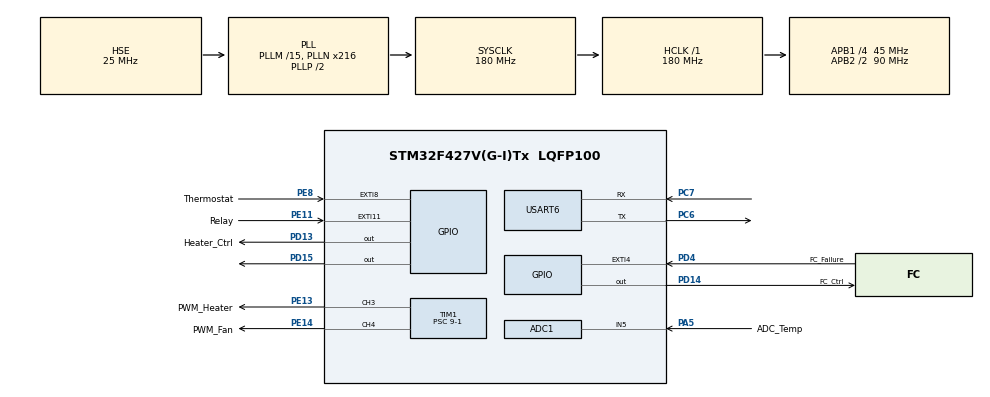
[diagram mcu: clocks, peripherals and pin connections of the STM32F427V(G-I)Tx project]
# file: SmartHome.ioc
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ADC1.Channel-2\#ChannelRegularConversion=ADC_CHANNEL_5
ADC1.ContinuousConvMode=ENABLE
ADC1.DMAContinuousRequests=DISABLE
ADC1.NbrOfConversion=1
ADC1.NbrOfConversionFlag=1
ADC1.Rank-2\#ChannelRegularConversion=1
ADC1.SamplingTime-2\#ChannelRegularConversion=ADC_SAMPLETIME_480CYCLES
ADC1.master=1
Dma.Request0=USART6_RX
Dma.USART6_RX.0.Direction=DMA_PERIPH_TO_MEMORY
Dma.USART6_RX.0.FIFOMode=DMA_FIFOMODE_DISABLE
Dma.USART6_RX.0.Instance=DMA2_Stream1
Dma.USART6_RX.0.MemDataAlignment=DMA_MDATAALIGN_BYTE
Dma.USART6_RX.0.MemInc=DMA_MINC_ENABLE
Dma.USART6_RX.0.Mode=DMA_NORMAL
Dma.USART6_RX.0.PeriphDataAlignment=DMA_PDATAALIGN_BYTE
Dma.USART6_RX.0.PeriphInc=DMA_PINC_DISABLE
Dma.USART6_RX.0.Priority=DMA_PRIORITY_VERY_HIGH
FREERTOS.INCLUDE_vTaskDelayUntil=1
FREERTOS.Tasks01=TaskReceiveData,0,128,StartTaskReceiveData,Default,NULL,Dynamic,NULL,NULL;TaskHeater,0,128,StartTaskHeater,Default,NULL,Dynamic,NULL,NULL;TaskFan,0,128,StartTaskFan,Default,NULL,Dynamic,NULL,NULL;TaskSendData,0,128,StartTaskSendData,Default,NULL,Dynamic,NULL,NULL;TaskReadTemp,0,128,StartTaskReadTemp,Default,NULL,Dynamic,NULL,NULL
FREERTOS.configUSE_NEWLIB_REENTRANT=1
Mcu.Family=STM32F4
Mcu.Name=STM32F427V(G-I)Tx
Mcu.Package=LQFP100
NVIC.DMA2_Stream1_IRQn=true\:5\:0\:false\:false\:true\:true\:false\:true\:true
NVIC.EXTI4_IRQn=true\:5\:0\:false\:false\:true\:true\:true\:true\:true
NVIC.EXTI9_5_IRQn=true\:5\:0\:false\:false\:true\:true\:true\:true\:true
NVIC.PriorityGroup=NVIC_PRIORITYGROUP_4
NVIC.USART6_IRQn=true\:5\:0\:false\:false\:true\:true\:true\:true\:true
PA13.Mode=JTAG_5_pins
PA13.Signal=SYS_JTMS-SWDIO
PA14.Mode=JTAG_5_pins
PA14.Signal=SYS_JTCK-SWCLK
PA15.Mode=JTAG_5_pins
PA15.Signal=SYS_JTDI
PA5.GPIO_Label=ADC_Temp
PA5.Signal=ADCx_IN5
PB3.Mode=JTAG_5_pins
PB3.Signal=SYS_JTDO-SWO
PB4.Mode=JTAG_5_pins
PB4.Signal=SYS_JTRST
PC14/OSC32_IN.Mode=LSE-External-Oscillator
PC14/OSC32_IN.Signal=RCC_OSC32_IN
PC15/OSC32_OUT.Mode=LSE-External-Oscillator
PC15/OSC32_OUT.Signal=RCC_OSC32_OUT
PC6.Mode=Asynchronous
PC6.Signal=USART6_TX
PC7.Mode=Asynchronous
PC7.Signal=USART6_RX
PD13.GPIO_Label=Heater_Ctrl
PD13.Signal=GPIO_Output
PD14.GPIO_Label=FC_Ctrl
PD14.Signal=GPIO_Output
PD15.Signal=GPIO_Output
PD4.GPIO_Label=FC_Failure
PD4.GPIO_PuPd=GPIO_PULLDOWN
PD4.Signal=GPXTI4
PE11.GPIO_Label=Relay
PE11.GPIO_PuPd=GPIO_PULLDOWN
PE11.Signal=GPXTI11
PE13.GPIO_Label=PWM_Heater
PE13.Signal=S_TIM1_CH3
PE14.GPIO_Label=PWM_Fan
PE14.Signal=S_TIM1_CH4
PE8.GPIO_Label=Thermostat
PE8.GPIO_PuPd=GPIO_PULLDOWN
PE8.Signal=GPXTI8
PH0/OSC_IN.Mode=HSE-External-Oscillator
PH0/OSC_IN.Signal=RCC_OSC_IN
PH1/OSC_OUT.Mode=HSE-External-Oscillator
PH1/OSC_OUT.Signal=RCC_OSC_OUT
ProjectManager.HeapSize=0x200
ProjectManager.StackSize=0x400
ProjectManager.TargetToolchain=STM32CubeIDE
RCC.48MHZClocksFreq_Value=90000000
RCC.AHBFreq_Value=180000000
RCC.APB1CLKDivider=RCC_HCLK_DIV4
RCC.APB1Freq_Value=45000000
RCC.APB1TimFreq_Value=90000000
RCC.APB2CLKDivider=RCC_HCLK_DIV2
RCC.APB2Freq_Value=90000000
RCC.APB2TimFreq_Value=180000000
RCC.CortexFreq_Value=180000000
RCC.HCLKFreq_Value=180000000
RCC.HSE_VALUE=25000000
RCC.HSI_VALUE=16000000
RCC.PLLM=15
RCC.PLLN=216
RCC.PLLSourceVirtual=RCC_PLLSOURCE_HSE
RCC.SYSCLKFreq_VALUE=180000000
RCC.SYSCLKSource=RCC_SYSCLKSOURCE_PLLCLK
RCC.VCOOutputFreq_Value=360000000
SH.ADCx_IN5.0=ADC1_IN5,IN5
SH.S_TIM1_CH3.0=TIM1_CH3,PWM Generation3 CH3
SH.S_TIM1_CH4.0=TIM1_CH4,PWM Generation4 CH4
TIM1.Channel-PWM\ Generation3\ CH3=TIM_CHANNEL_3
TIM1.Channel-PWM\ Generation4\ CH4=TIM_CHANNEL_4
TIM1.Period=1000-1
TIM1.Prescaler=9-1
USART6.VirtualMode=VM_ASYNC
VP_FREERTOS_VS_CMSIS_V1.Mode=CMSIS_V1
VP_TIM1_VS_ClockSourceINT.Mode=Internal
board=custom

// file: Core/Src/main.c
/* USER CODE BEGIN Header */
/**
 ******************************************************************************
 * @file           : main.c
 * @brief          : Main program body
 ******************************************************************************
 * @attention
 *
 * Copyright (c) 2023 STMicroelectronics.
 * All rights reserved.
 *
 * This software is licensed under terms that can be found in the LICENSE file
 * in the root directory of this software component.
 * If no LICENSE file comes with this software, it is provided AS-IS.
 *
 ******************************************************************************
 */
/* USER CODE END Header */
#include "main.h"
#include "cmsis_os.h"

/* USER CODE BEGIN Includes */
#include "PID.h"
#include <stdlib.h>
#include <stdio.h>
#include <string.h>
/* USER CODE END Includes */

/* USER CODE BEGIN PD */
#define RxBuf_SIZE   64
#define	StartBf 0xAA
#define	StopBf 0xFF
#define	EscapeBf 0x55
#define bufferSize 1024
/* USER CODE END PD */

ADC_HandleTypeDef hadc1;

TIM_HandleTypeDef htim1;

UART_HandleTypeDef huart6;
DMA_HandleTypeDef hdma_usart6_rx;

osThreadId TaskReceiveDataHandle;
osThreadId TaskHeaterHandle;
osThreadId TaskFanHandle;
osThreadId TaskSendDataHandle;
osThreadId TaskReadTempHandle;
/* USER CODE BEGIN PV */

//uint32_t adc_value, adc_buffer, sum, adc_average;
//uint16_t count = 0;
//uint8_t flag_avg = 0, flag_adc = 0;
uint8_t flag_receive = 0, flag_correct = 0, flag_speed = 0, request = 0, i = 0;
uint8_t crc8;
uint8_t flag_set_temp = 0, flag_start = 0, flag_stop = 0;

float temp, speed, temp_set, speed_set;
uint16_t pwm_temp, pwm_speed;

extern float last_error_pres, integrated_error_pres;
extern uint32_t timerPID_pres;

//uint8_t flag_heater,flag_fan, flag_fc;
//uint8_t heater_failure,fan_failure, fc_failure;

uint8_t tx_buffer[RxBuf_SIZE];
uint16_t txSize;
uint8_t rx_buffer[RxBuf_SIZE];
uint8_t receiverData[RxBuf_SIZE];
uint8_t rx_length, flag_crc = 0;

uint8_t RxBufDMA[RxBuf_SIZE];

uint8_t receiverCount, escaped, active;

union {
	float fValue;
	uint8_t cValue[4];
	uint32_t iValue;
} data32;

enum SpecialBytes {
	Start = 0xAA, Stop = 0xFF, Escape = 0x55
};

enum State State_Machine = STOP;
//union
//{
//	uint8_t cValue[2];
//	uint16_t iValue;
//}data16;
//char pressureRx[30];
//uint8_t rx_index = 0;
//uint8_t rx_data;

PidParameter PID_TEMP = { 15, 5, 0 };
/* USER CODE END PV */

void SystemClock_Config(void);
static void MX_GPIO_Init(void);
static void MX_DMA_Init(void);
static void MX_ADC1_Init(void);
static void MX_TIM1_Init(void);
static void MX_USART6_UART_Init(void);
void StartTaskReceiveData(void const * argument);
void StartTaskHeater(void const * argument);
void StartTaskFan(void const * argument);
void StartTaskSendData(void const * argument);
void StartTaskReadTemp(void const * argument);

/* USER CODE BEGIN PFP */
//void HAL_ADC_ConvCpltCallback(ADC_HandleTypeDef *hadc) {
//	// time Conv = (480+15)/180Mhz = 2.75 us
//	adc_value = adc_buffer;
//	temp = (float) adc_value * coeff_temp;
//
//	if (count == 50) {
//		adc_average = sum / count;
//		temp = (float) adc_average * coeff_temp;
//		sum = 0;
//		count = 0;
////		flag_avg = 1;
//	} else {
//		sum += adc_buffer;
//		count++;
//	}
////	flag_adc = 1;
//}
void HAL_GPIO_EXTI_Callback(uint16_t GPIO_Pin) {
	if (GPIO_Pin == Thermostat_Pin) {
//		HAL_GPIO_WritePin(GPIOD, GPIO_PIN_13, 0);
//		HAL_GPIO_WritePin(Heater_Ctrl_GPIO_Port, Heater_Ctrl_Pin, 0);
		if (State_Machine == WORKING)
			State_Machine = HEATER_BLOWING;
		else if (State_Machine == HEATER_START || State_Machine == FAN_START)
			State_Machine = BLOCK;
		pwm_temp = 0;
	}
	if (GPIO_Pin == Relay_Pin) {
//		HAL_GPIO_WritePin(GPIOD, GPIO_PIN_15, 0);
//		HAL_GPIO_WritePin(Fan_Ctrl_GPIO_Port, Fan_Ctrl_Pin, 0);
		State_Machine = BLOCK;
	}
	if (GPIO_Pin == FC_Failure_Pin) {
//		HAL_GPIO_WritePin(GPIOD, GPIO_PIN_14, 0);
//		HAL_GPIO_WritePin(FC_Ctrl_GPIO_Port, FC_Ctrl_Pin, 0);
		State_Machine = BLOCK;
	}
}

//void HAL_UART_RxCpltCallback(UART_HandleTypeDef *huart) {
//	if (huart->Instance == huart6.Instance) {
////		HAL_GPIO_TogglePin(GPIOD, GPIO_PIN_15);
////		if (!rx_index) {
////			for (int i = 0; i < 20; i++) {
////				rx_buffer[i] = '\0';
////			}
////		}
////		if (rx_data != '\n' && rx_data != '\r' && rx_data != '/') {
////			rx_buffer[rx_index++] = rx_data;
////		} else {
//////			HAL_GPIO_TogglePin(GPIOD, GPIO_PIN_13);
//////			HAL_UART_Transmit(&huart6, (uint8_t*)rx_buffer, strlen(rx_buffer), HAL_MAX_DELAY);
////
////			flag_value = 1;
////			rx_index = 0;
////		}
//		flag_receive = 1;
//		HAL_UART_Receive_IT(&huart6, rx_buffer, 7);
////		HAL_UART_Transmit(&huart6, rx_buffer, 7, HAL_MAX_DELAY);
//	}
//}

uint8_t calculate_crc8(uint8_t *pcBlock, uint8_t len) {
	uint8_t crc = 0xFF;
	uint8_t i;

	while (len--) {
		crc ^= *pcBlock++;

		for (i = 0; i < 8; i++)
			crc = crc & 0x80 ? (crc << 1) ^ CRC8_POLYNOMIAL : crc << 1;
	}

	return crc;
}

void HAL_UARTEx_RxEventCallback(UART_HandleTypeDef *huart, uint16_t Size) {
	if (huart->Instance == USART6) {
		memcpy((uint8_t*) rx_buffer, RxBufDMA, Size);
		memset((uint8_t*) rx_buffer + Size, 0, RxBuf_SIZE - Size);
		rx_length = Size;
		flag_receive = 1;

		/* start the DMA again */
		HAL_UARTEx_ReceiveToIdle_DMA(&huart6, (uint8_t*) RxBufDMA, RxBuf_SIZE);
		__HAL_DMA_DISABLE_IT(&hdma_usart6_rx, DMA_IT_HT);

	}

}

//uint16_t calculate_crc16(const uint8_t *data, size_t len) {
//    uint16_t crc = 0; // Initial value
//
//    for (size_t i = 0; i < len; i++) {
//        crc ^= (uint16_t)data[i] << 8;
//        for (int j = 0; j < 8; j++) {
//            if (crc & 0x8000) {
//                crc = (crc << 1) ^ CRC16_POLYNOMIAL;
//            } else {
//                crc = crc << 1;
//            }
//        }
//    }
//
//    return crc;
//}

/* USER CODE END PFP */

int main(void)
{

  /* MCU Configuration--------------------------------------------------------*/

  /* Reset of all peripherals, Initializes the Flash interface and the Systick. */
  HAL_Init();

  /* Configure the system clock */
  SystemClock_Config();

  /* Initialize all configured peripherals */
  MX_GPIO_Init();
  MX_DMA_Init();
  MX_ADC1_Init();
  MX_TIM1_Init();
  MX_USART6_UART_Init();
  /* USER CODE BEGIN 2 */
//	HAL_ADC_Start_DMA(&hadc1, &adc_buffer, 1);
//	HAL_UART_Receive_IT(&huart6, rx_buffer, 7);
	HAL_UARTEx_ReceiveToIdle_DMA(&huart6, RxBufDMA, RxBuf_SIZE);
	__HAL_DMA_DISABLE_IT(&hdma_usart6_rx, DMA_IT_HT);

	HAL_TIM_PWM_Start(&htim1, TIM_CHANNEL_3);
	HAL_TIM_PWM_Start(&htim1, TIM_CHANNEL_4);

  /* USER CODE END 2 */

  /* Create the thread(s) */
  /* definition and creation of TaskReceiveData */
  osThreadDef(TaskReceiveData, StartTaskReceiveData, osPriorityNormal, 0, 128);
  TaskReceiveDataHandle = osThreadCreate(osThread(TaskReceiveData), NULL);

  /* definition and creation of TaskHeater */
  osThreadDef(TaskHeater, StartTaskHeater, osPriorityNormal, 0, 128);
  TaskHeaterHandle = osThreadCreate(osThread(TaskHeater), NULL);

  /* definition and creation of TaskFan */
  osThreadDef(TaskFan, StartTaskFan, osPriorityNormal, 0, 128);
  TaskFanHandle = osThreadCreate(osThread(TaskFan), NULL);

  /* definition and creation of TaskSendData */
  osThreadDef(TaskSendData, StartTaskSendData, osPriorityNormal, 0, 128);
  TaskSendDataHandle = osThreadCreate(osThread(TaskSendData), NULL);

  /* definition and creation of TaskReadTemp */
  osThreadDef(TaskReadTemp, StartTaskReadTemp, osPriorityNormal, 0, 128);
  TaskReadTempHandle = osThreadCreate(osThread(TaskReadTemp), NULL);

  /* Start scheduler */
  osKernelStart();

  /* We should never get here as control is now taken by the scheduler */
  /* Infinite loop */
	while (1) {

	}
}

void SystemClock_Config(void)
{
  RCC_OscInitTypeDef RCC_OscInitStruct = {0};
  RCC_ClkInitTypeDef RCC_ClkInitStruct = {0};

  /** Configure the main internal regulator output voltage
  */
  __HAL_RCC_PWR_CLK_ENABLE();
  __HAL_PWR_VOLTAGESCALING_CONFIG(PWR_REGULATOR_VOLTAGE_SCALE1);

  /** Initializes the RCC Oscillators according to the specified parameters
  * in the RCC_OscInitTypeDef structure.
  */
  RCC_OscInitStruct.OscillatorType = RCC_OSCILLATORTYPE_HSE;
  RCC_OscInitStruct.HSEState = RCC_HSE_ON;
  RCC_OscInitStruct.PLL.PLLState = RCC_PLL_ON;
  RCC_OscInitStruct.PLL.PLLSource = RCC_PLLSOURCE_HSE;
  RCC_OscInitStruct.PLL.PLLM = 15;
  RCC_OscInitStruct.PLL.PLLN = 216;
  RCC_OscInitStruct.PLL.PLLP = RCC_PLLP_DIV2;
  RCC_OscInitStruct.PLL.PLLQ = 4;
  if (HAL_RCC_OscConfig(&RCC_OscInitStruct) != HAL_OK)
  {
    Error_Handler();
  }

  /** Activate the Over-Drive mode
  */
  if (HAL_PWREx_EnableOverDrive() != HAL_OK)
  {
    Error_Handler();
  }

  /** Initializes the CPU, AHB and APB buses clocks
  */
  RCC_ClkInitStruct.ClockType = RCC_CLOCKTYPE_HCLK|RCC_CLOCKTYPE_SYSCLK
                              |RCC_CLOCKTYPE_PCLK1|RCC_CLOCKTYPE_PCLK2;
  RCC_ClkInitStruct.SYSCLKSource = RCC_SYSCLKSOURCE_PLLCLK;
  RCC_ClkInitStruct.AHBCLKDivider = RCC_SYSCLK_DIV1;
  RCC_ClkInitStruct.APB1CLKDivider = RCC_HCLK_DIV4;
  RCC_ClkInitStruct.APB2CLKDivider = RCC_HCLK_DIV2;

  if (HAL_RCC_ClockConfig(&RCC_ClkInitStruct, FLASH_LATENCY_5) != HAL_OK)
  {
    Error_Handler();
  }
}

static void MX_ADC1_Init(void)
{

  ADC_ChannelConfTypeDef sConfig = {0};

  /** Configure the global features of the ADC (Clock, Resolution, Data Alignment and number of conversion)
  */
  hadc1.Instance = ADC1;
  hadc1.Init.ClockPrescaler = ADC_CLOCK_SYNC_PCLK_DIV4;
  hadc1.Init.Resolution = ADC_RESOLUTION_12B;
  hadc1.Init.ScanConvMode = DISABLE;
  hadc1.Init.ContinuousConvMode = ENABLE;
  hadc1.Init.DiscontinuousConvMode = DISABLE;
  hadc1.Init.ExternalTrigConvEdge = ADC_EXTERNALTRIGCONVEDGE_NONE;
  hadc1.Init.ExternalTrigConv = ADC_SOFTWARE_START;
  hadc1.Init.DataAlign = ADC_DATAALIGN_RIGHT;
  hadc1.Init.NbrOfConversion = 1;
  hadc1.Init.DMAContinuousRequests = DISABLE;
  hadc1.Init.EOCSelection = ADC_EOC_SINGLE_CONV;
  if (HAL_ADC_Init(&hadc1) != HAL_OK)
  {
    Error_Handler();
  }

  /** Configure for the selected ADC regular channel its corresponding rank in the sequencer and its sample time.
  */
  sConfig.Channel = ADC_CHANNEL_5;
  sConfig.Rank = 1;
  sConfig.SamplingTime = ADC_SAMPLETIME_480CYCLES;
  if (HAL_ADC_ConfigChannel(&hadc1, &sConfig) != HAL_OK)
  {
    Error_Handler();
  }

}

static void MX_TIM1_Init(void)
{

  TIM_ClockConfigTypeDef sClockSourceConfig = {0};
  TIM_MasterConfigTypeDef sMasterConfig = {0};
  TIM_OC_InitTypeDef sConfigOC = {0};
  TIM_BreakDeadTimeConfigTypeDef sBreakDeadTimeConfig = {0};

  htim1.Instance = TIM1;
  htim1.Init.Prescaler = 9-1;
  htim1.Init.CounterMode = TIM_COUNTERMODE_UP;
  htim1.Init.Period = 1000-1;
  htim1.Init.ClockDivision = TIM_CLOCKDIVISION_DIV1;
  htim1.Init.RepetitionCounter = 0;
  htim1.Init.AutoReloadPreload = TIM_AUTORELOAD_PRELOAD_DISABLE;
  if (HAL_TIM_Base_Init(&htim1) != HAL_OK)
  {
    Error_Handler();
  }
  sClockSourceConfig.ClockSource = TIM_CLOCKSOURCE_INTERNAL;
  if (HAL_TIM_ConfigClockSource(&htim1, &sClockSourceConfig) != HAL_OK)
  {
    Error_Handler();
  }
  if (HAL_TIM_PWM_Init(&htim1) != HAL_OK)
  {
    Error_Handler();
  }
  sMasterConfig.MasterOutputTrigger = TIM_TRGO_RESET;
  sMasterConfig.MasterSlaveMode = TIM_MASTERSLAVEMODE_DISABLE;
  if (HAL_TIMEx_MasterConfigSynchronization(&htim1, &sMasterConfig) != HAL_OK)
  {
    Error_Handler();
  }
  sConfigOC.OCMode = TIM_OCMODE_PWM1;
  sConfigOC.Pulse = 0;
  sConfigOC.OCPolarity = TIM_OCPOLARITY_HIGH;
  sConfigOC.OCNPolarity = TIM_OCNPOLARITY_HIGH;
  sConfigOC.OCFastMode = TIM_OCFAST_DISABLE;
  sConfigOC.OCIdleState = TIM_OCIDLESTATE_RESET;
  sConfigOC.OCNIdleState = TIM_OCNIDLESTATE_RESET;
  if (HAL_TIM_PWM_ConfigChannel(&htim1, &sConfigOC, TIM_CHANNEL_3) != HAL_OK)
  {
    Error_Handler();
  }
  if (HAL_TIM_PWM_ConfigChannel(&htim1, &sConfigOC, TIM_CHANNEL_4) != HAL_OK)
  {
    Error_Handler();
  }
  sBreakDeadTimeConfig.OffStateRunMode = TIM_OSSR_DISABLE;
  sBreakDeadTimeConfig.OffStateIDLEMode = TIM_OSSI_DISABLE;
  sBreakDeadTimeConfig.LockLevel = TIM_LOCKLEVEL_OFF;
  sBreakDeadTimeConfig.DeadTime = 0;
  sBreakDeadTimeConfig.BreakState = TIM_BREAK_DISABLE;
  sBreakDeadTimeConfig.BreakPolarity = TIM_BREAKPOLARITY_HIGH;
  sBreakDeadTimeConfig.AutomaticOutput = TIM_AUTOMATICOUTPUT_DISABLE;
  if (HAL_TIMEx_ConfigBreakDeadTime(&htim1, &sBreakDeadTimeConfig) != HAL_OK)
  {
    Error_Handler();
  }
  HAL_TIM_MspPostInit(&htim1);

}

static void MX_USART6_UART_Init(void)
{

  huart6.Instance = USART6;
  huart6.Init.BaudRate = 115200;
  huart6.Init.WordLength = UART_WORDLENGTH_8B;
  huart6.Init.StopBits = UART_STOPBITS_1;
  huart6.Init.Parity = UART_PARITY_NONE;
  huart6.Init.Mode = UART_MODE_TX_RX;
  huart6.Init.HwFlowCtl = UART_HWCONTROL_NONE;
  huart6.Init.OverSampling = UART_OVERSAMPLING_16;
  if (HAL_UART_Init(&huart6) != HAL_OK)
  {
    Error_Handler();
  }

}

static void MX_DMA_Init(void)
{

  /* DMA controller clock enable */
  __HAL_RCC_DMA2_CLK_ENABLE();

  /* DMA interrupt init */
  /* DMA2_Stream1_IRQn interrupt configuration */
  HAL_NVIC_SetPriority(DMA2_Stream1_IRQn, 5, 0);
  HAL_NVIC_EnableIRQ(DMA2_Stream1_IRQn);

}

static void MX_GPIO_Init(void)
{
  GPIO_InitTypeDef GPIO_InitStruct = {0};

  /* GPIO Ports Clock Enable */
  __HAL_RCC_GPIOC_CLK_ENABLE();
  __HAL_RCC_GPIOH_CLK_ENABLE();
  __HAL_RCC_GPIOA_CLK_ENABLE();
  __HAL_RCC_GPIOE_CLK_ENABLE();
  __HAL_RCC_GPIOD_CLK_ENABLE();
  __HAL_RCC_GPIOB_CLK_ENABLE();

  /*Configure GPIO pin Output Level */
  HAL_GPIO_WritePin(GPIOD, Heater_Ctrl_Pin|FC_Ctrl_Pin|GPIO_PIN_15, GPIO_PIN_RESET);

  /*Configure GPIO pins : Thermostat_Pin Relay_Pin */
  GPIO_InitStruct.Pin = Thermostat_Pin|Relay_Pin;
  GPIO_InitStruct.Mode = GPIO_MODE_IT_RISING;
  GPIO_InitStruct.Pull = GPIO_PULLDOWN;
  HAL_GPIO_Init(GPIOE, &GPIO_InitStruct);

  /*Configure GPIO pins : Heater_Ctrl_Pin FC_Ctrl_Pin PD15 */
  GPIO_InitStruct.Pin = Heater_Ctrl_Pin|FC_Ctrl_Pin|GPIO_PIN_15;
  GPIO_InitStruct.Mode = GPIO_MODE_OUTPUT_PP;
  GPIO_InitStruct.Pull = GPIO_NOPULL;
  GPIO_InitStruct.Speed = GPIO_SPEED_FREQ_LOW;
  HAL_GPIO_Init(GPIOD, &GPIO_InitStruct);

  /*Configure GPIO pin : FC_Failure_Pin */
  GPIO_InitStruct.Pin = FC_Failure_Pin;
  GPIO_InitStruct.Mode = GPIO_MODE_IT_RISING;
  GPIO_InitStruct.Pull = GPIO_PULLDOWN;
  HAL_GPIO_Init(FC_Failure_GPIO_Port, &GPIO_InitStruct);

  /* EXTI interrupt init*/
  HAL_NVIC_SetPriority(EXTI4_IRQn, 5, 0);
  HAL_NVIC_EnableIRQ(EXTI4_IRQn);

  HAL_NVIC_SetPriority(EXTI9_5_IRQn, 5, 0);
  HAL_NVIC_EnableIRQ(EXTI9_5_IRQn);

}

/* USER CODE BEGIN 4 */
float readTemp(uint32_t timeout) {
	HAL_ADC_Start(&hadc1);
	HAL_ADC_PollForConversion(&hadc1, timeout);
	float Temp = (float) HAL_ADC_GetValue(&hadc1) / 4095 * 3.3 * coeff_temp;
	HAL_ADC_Stop(&hadc1);
	return Temp;
}

void Parse(uint8_t *buf, int len) {
	for (int i = 0; i < len; i++) {
		if (buf[i] == StartBf) {
			receiverCount = 0;
			active = 1;
			escaped = 0;
			continue;
		}

		if (buf[i] == StopBf) {
			active = 0;
			escaped = 0;

			if (receiverCount < 2)
				continue; // we must have at least 1 byte of data and 1 byte of crc

			uint8_t crc = calculate_crc8(receiverData, (receiverCount - 1)); // there is 1 byte of crc in data
			if (crc != receiverData[receiverCount - 1]) {
				continue; // crc check failed. Discarding data
				flag_crc = 0;
			} else {
				flag_crc = 1;
			}

			receiverData[receiverCount - 1] = '\0'; // -1 cuz of crc

			continue;
		}

		if (buf[i] == EscapeBf) {
			escaped = 1;
			continue;
		}

		// Protect against buffer overflow
		if (receiverCount >= bufferSize) {
			active = 1;
		}

		if (active) {
			receiverData[receiverCount++] = (
					escaped ? (uint8_t) (buf[i] ^ 0x20) : buf[i]);
			escaped = 0;
		}
	}
}

void PrepareData(uint8_t *data, int len) {
	txSize = 1;
	tx_buffer[0] = StartBf;
	for (int i = 0; i < len; i++) {
//		if (sendSize >= bufferSize - 5) // 2 for data byte and possible escape, 2 for crc and possible escape, 1 for stop
//		throw new Exception("Data was to large");

		if (data[i] == StartBf || data[i] == StopBf || data[i] == EscapeBf) {
			tx_buffer[txSize++] = (uint8_t) EscapeBf;
			tx_buffer[txSize++] = (uint8_t) (data[i] ^ 0x20);
		} else {
			tx_buffer[txSize++] = data[i];
		}
	}
	uint8_t crc = calculate_crc8(data, len);
	if (crc == StartBf || crc == StopBf || crc == EscapeBf) {
		tx_buffer[txSize++] = (uint8_t) EscapeBf;
		tx_buffer[txSize++] = (uint8_t) (crc ^ 0x20);
	} else {
		tx_buffer[txSize++] = crc;
	}
	tx_buffer[txSize++] = (uint8_t) StopBf;
}
/* USER CODE END 4 */

void StartTaskReceiveData(void const * argument)
{
  /* USER CODE BEGIN 5 */
	/* Infinite loop */
	for (;;) {
		if (flag_receive) {

			crc8 = calculate_crc8(rx_buffer, rx_length - 1);
			Parse(rx_buffer, rx_length);

			if (flag_crc) {
				//Send ack to server
				uint8_t datatx[2] = { 'a', 1 };
				PrepareData(datatx, 2);

				HAL_UART_Transmit(&huart6, tx_buffer, txSize, HAL_MAX_DELAY);

				// Processing data
				for (i = 0; i < 4; i++) {
					data32.cValue[i] = rx_buffer[2 + i];
				}

				switch (rx_buffer[1]) {
				// Auto
				case 't': { //Temperature
					temp_set = data32.fValue;
					flag_set_temp = 1;
					last_error_pres = 0;
					integrated_error_pres = 0;
					timerPID_pres = HAL_GetTick();
					break;
				}
				case 'v': { // Fan speed
					flag_speed = 1;
					speed_set = data32.fValue;
					break;
				}
				case 's': { //start/stop system
					if (data32.iValue) //start
					{
						flag_start = 1;
//						HAL_GPIO_WritePin(FC_Ctrl_GPIO_Port, FC_Ctrl_Pin, 1);
//						HAL_GPIO_WritePin(Fan_Ctrl_GPIO_Port, Fan_Ctrl_Pin, 1);
//						if (State_Machine == STOP) {
//							flag_speed = 1;
//							speed_set = 1500;
//							State_Machine = HEATER_START;
//						}
					} else //stop
					{
						flag_stop = 1;
//						if (State_Machine == WORKING)
//							State_Machine = HEATER_BLOWING;
//						else if (State_Machine == BLOCK) {
//							HAL_GPIO_WritePin(FC_Ctrl_GPIO_Port, FC_Ctrl_Pin,
//									0);
//							HAL_GPIO_WritePin(Fan_Ctrl_GPIO_Port, Fan_Ctrl_Pin,
//									0);
//							HAL_GPIO_WritePin(Heater_Ctrl_GPIO_Port,
//									Heater_Ctrl_Pin, 0);
//							State_Machine = STOP;
//						}
					}
					break;
				}
					// Manual
				case 'h': //heater control
				{
					HAL_GPIO_WritePin(GPIOD, GPIO_PIN_13, data32.iValue); //green
					HAL_GPIO_WritePin(Heater_Ctrl_GPIO_Port, Heater_Ctrl_Pin,
							data32.iValue);
					if (data32.iValue == 0)
						pwm_temp = 0;
					break;
				}
				case 'c': //frequency converter control
				{
					HAL_GPIO_WritePin(GPIOD, GPIO_PIN_14, data32.iValue); //yellow
					HAL_GPIO_WritePin(FC_Ctrl_GPIO_Port, FC_Ctrl_Pin,
							data32.iValue);
					if (data32.iValue == 0)
						pwm_speed = 0;
					break;
				}
//				case 'f': //fan control
//				{
//					HAL_GPIO_WritePin(GPIOD, GPIO_PIN_15, data32.iValue); //red
//					HAL_GPIO_WritePin(Fan_Ctrl_GPIO_Port, Fan_Ctrl_Pin,
//							data32.iValue);
//					if (data32.iValue == 0)
//						pwm_speed = 0;
//					break;
//				}
				case 'p': {
					PID_TEMP.Kp = data32.fValue;
					break;
				}
				case 'i': //
				{
					PID_TEMP.Ki = data32.fValue;
					break;
				}
				case 'd': //
				{
					PID_TEMP.Kd = data32.fValue;
					break;
				}
				case 'r': {
					request = 1;
					break;
				}
				}
			} else {
				uint8_t datatx[2] = { 'a', 0 };
				PrepareData(datatx, 2);

				HAL_UART_Transmit(&huart6, tx_buffer, txSize, HAL_MAX_DELAY);
			}
			flag_receive = 0;
		}

		osDelay(500);
	}
  /* USER CODE END 5 */
}

void StartTaskHeater(void const * argument)
{
  /* USER CODE BEGIN StartTaskHeater */
	/* Infinite loop */
	for (;;) {
		switch (State_Machine) {
		case HEATER_START:
			HAL_GPIO_WritePin(Heater_Ctrl_GPIO_Port, Heater_Ctrl_Pin, 1);
			flag_start = 0;
			State_Machine = FAN_START;
			break;
		case BLOCK:
			pwm_temp = 0;
			__HAL_TIM_SET_COMPARE(&htim1, TIM_CHANNEL_3, 0);
			if (flag_stop) {
				HAL_GPIO_WritePin(Heater_Ctrl_GPIO_Port, Heater_Ctrl_Pin, 0);
//				HAL_GPIO_WritePin(Fan_Ctrl_GPIO_Port, Fan_Ctrl_Pin, 0);
				HAL_GPIO_WritePin(FC_Ctrl_GPIO_Port, FC_Ctrl_Pin, 0);
				State_Machine = STOP;
				flag_stop = 0;
			}
			break;
		case WORKING:
			if (flag_set_temp) {
				if (abs(temp - temp_set) > 1) {
					pwm_temp = PID_Calc(PID_TEMP, temp, temp_set);
					__HAL_TIM_SET_COMPARE(&htim1, TIM_CHANNEL_3, pwm_temp);
				} else {
					osDelay(30000);
				}
			}
			if (flag_stop) {
				State_Machine = HEATER_BLOWING;
				flag_stop = 0;
			}
			break;
		case HEATER_BLOWING:
			pwm_temp = 0;
			__HAL_TIM_SET_COMPARE(&htim1, TIM_CHANNEL_3, 0);
			HAL_GPIO_WritePin(Heater_Ctrl_GPIO_Port, Heater_Ctrl_Pin, 0);
			break;
		}
		osDelay(1000);
	}
  /* USER CODE END StartTaskHeater */
}

void StartTaskFan(void const * argument)
{
  /* USER CODE BEGIN StartTaskFan */
	/* Infinite loop */
	for (;;) {
		switch (State_Machine) {
		case STOP:
			if (flag_start) {
				HAL_GPIO_WritePin(FC_Ctrl_GPIO_Port, FC_Ctrl_Pin, 1);
//				HAL_GPIO_WritePin(Fan_Ctrl_GPIO_Port, Fan_Ctrl_Pin, 1);
				State_Machine = HEATER_START;
				flag_start = 0;
			}
			break;
		case FAN_START:
			pwm_speed = (uint32_t) (1500 * coeff_speed);
			__HAL_TIM_SET_COMPARE(&htim1, TIM_CHANNEL_4, pwm_speed);
			State_Machine = WORKING;
			break;
		case WORKING:
			if (flag_speed) {
				pwm_speed = (uint32_t) (speed_set * coeff_speed);
				__HAL_TIM_SET_COMPARE(&htim1, TIM_CHANNEL_4, pwm_speed);
				flag_speed = 0;
			}
			break;
		case HEATER_BLOWING:
			osDelay(30000);
			__HAL_TIM_SET_COMPARE(&htim1, TIM_CHANNEL_4, 0);
//			HAL_GPIO_WritePin(Fan_Ctrl_GPIO_Port, Fan_Ctrl_Pin, 0);
			HAL_GPIO_WritePin(FC_Ctrl_GPIO_Port, FC_Ctrl_Pin, 0);
			State_Machine = STOP;
			break;
		case BLOCK:
			pwm_speed = 0;
			__HAL_TIM_SET_COMPARE(&htim1, TIM_CHANNEL_4, 0);
			break;
		}
		osDelay(1000);
	}
  /* USER CODE END StartTaskFan */
}

void StartTaskSendData(void const * argument)
{
  /* USER CODE BEGIN StartTaskSendData */
	/* Infinite loop */
	for (;;) {
		if (request) {
			uint8_t state_heater = HAL_GPIO_ReadPin(Thermostat_GPIO_Port,
			Thermostat_Pin);
			uint8_t state_fan = HAL_GPIO_ReadPin(Relay_GPIO_Port, Relay_Pin);
			uint8_t state_fc = HAL_GPIO_ReadPin(FC_Failure_GPIO_Port,
			FC_Failure_Pin);

			float sum = 0;
			for (uint8_t i = 0; i < 10; i++) {
				sum += readTemp(1000);
			}
			temp = sum / 10;

//			temp = readTemp(1000);

//			memset(tx_buffer,0,14);

			uint8_t datatx[14];
			datatx[0] = 'd';

			data32.fValue = temp_set;
			for (i = 0; i < 4; i++) {
				datatx[i + 1] = data32.cValue[i];
			}

			data32.fValue = temp;
			for (i = 0; i < 4; i++) {
				datatx[i + 5] = data32.cValue[i];
			}

			data32.fValue = (float) pwm_temp / PWM_MAX * MAX_CAP;
			for (i = 0; i < 4; i++) {
				datatx[i + 9] = data32.cValue[i];
			}

			datatx[13] = State_Machine << 3 | state_heater << 2 | state_fan << 1
					| state_fc;

			PrepareData(datatx, 14);

			HAL_UART_Transmit(&huart6, (uint8_t*) tx_buffer, txSize,
			HAL_MAX_DELAY);

			request = 0;
		}
		osDelay(1000);
	}
  /* USER CODE END StartTaskSendData */
}

void StartTaskReadTemp(void const * argument)
{
  /* USER CODE BEGIN StartTaskReadTemp */
	/* Infinite loop */
	for (;;) {
		float sum = 0;
		for (uint8_t i = 0; i < 10; i++) {
			sum += readTemp(1000);
		}
		temp = sum / 10;
		osDelay(1000);
	}
  /* USER CODE END StartTaskReadTemp */
}

void Error_Handler(void)
{
	__disable_irq();
	while (1) {
	}
}

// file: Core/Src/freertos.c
/* USER CODE BEGIN Header */
/**
 ******************************************************************************
 * File Name          : freertos.c
 * Description        : Code for freertos applications
 ******************************************************************************
 * @attention
 *
 * Copyright (c) 2023 STMicroelectronics.
 * All rights reserved.
 *
 * This software is licensed under terms that can be found in the LICENSE file
 * in the root directory of this software component.
 * If no LICENSE file comes with this software, it is provided AS-IS.
 *
 ******************************************************************************
 */
/* USER CODE END Header */

#include "FreeRTOS.h"
#include "task.h"
#include "main.h"

/* GetIdleTaskMemory prototype (linked to static allocation support) */
void vApplicationGetIdleTaskMemory(StaticTask_t **ppxIdleTaskTCBBuffer,
		StackType_t **ppxIdleTaskStackBuffer, uint32_t *pulIdleTaskStackSize);

/* USER CODE BEGIN GET_IDLE_TASK_MEMORY */
static StaticTask_t xIdleTaskTCBBuffer;
static StackType_t xIdleStack[configMINIMAL_STACK_SIZE];

void vApplicationGetIdleTaskMemory(StaticTask_t **ppxIdleTaskTCBBuffer,
		StackType_t **ppxIdleTaskStackBuffer, uint32_t *pulIdleTaskStackSize) {
	*ppxIdleTaskTCBBuffer = &xIdleTaskTCBBuffer;
	*ppxIdleTaskStackBuffer = &xIdleStack[0];
	*pulIdleTaskStackSize = configMINIMAL_STACK_SIZE;
	/* place for user code */
}
/* USER CODE END GET_IDLE_TASK_MEMORY */
